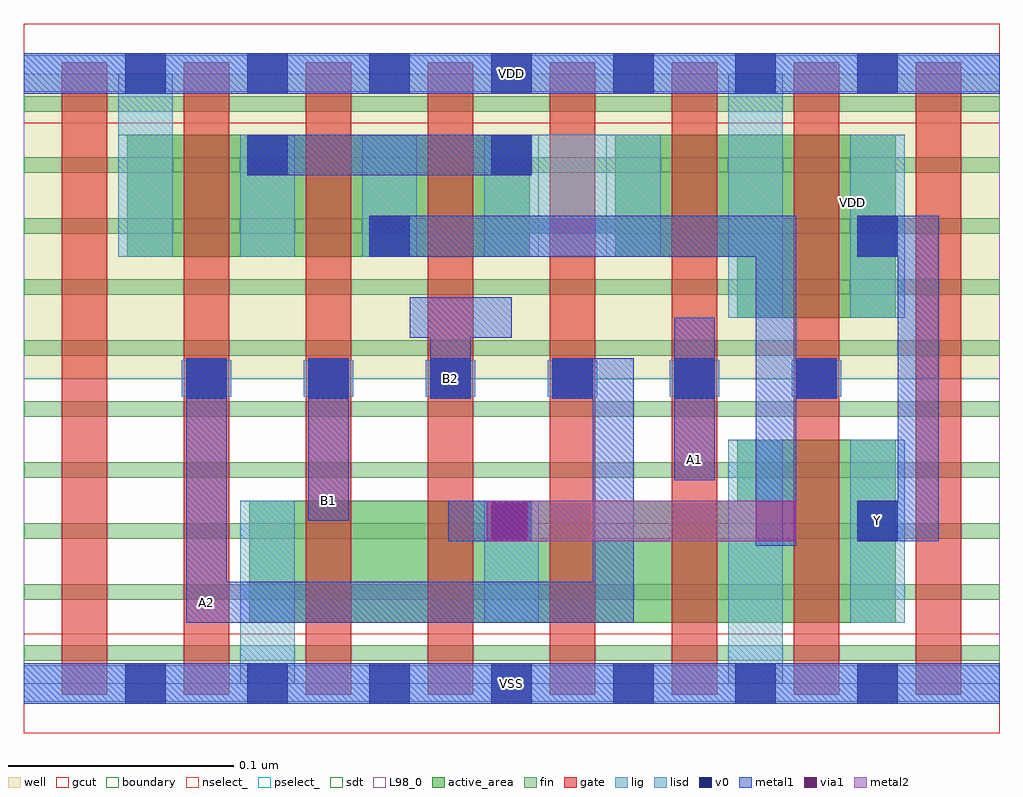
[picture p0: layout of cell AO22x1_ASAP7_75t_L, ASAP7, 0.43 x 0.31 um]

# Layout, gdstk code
import gdstk
lib = gdstk.Library(unit=1e-6, precision=2.5e-10)
def R(c, l, rs):  # rectangles x0, y0, x1, y1
    for r in rs: c.add(gdstk.rectangle(r[:2], r[2:], *l))
def A(c, l, x, y, w, h, nx, ny, dx, dy):  # array of equal rectangles
    R(c, l, [(x+i*dx, y+j*dy, x+i*dx+w, y+j*dy+h) for i in range(nx) for j in range(ny)])
def P(c, l, *ps):  # polygons
    for p in ps: c.add(gdstk.Polygon(p, *l))
well = (1, 0)
fin = (2, 0)
gate = (7, 0)
gcut = (10, 0)
active_area = (11, 0)
nselect_ = (12, 0)
pselect_ = (13, 0)
lig = (16, 0)
lisd = (17, 0)
v0 = (18, 0)
metal1 = (19, 0)
metal2 = (20, 0)
via1 = (21, 0)
sdt = (88, 0)
L98_0 = (98, 0)
boundary = (100, 0)

ao22x1_asap7_75t_l = lib.new_cell('AO22x1_ASAP7_75t_L')
R(ao22x1_asap7_75t_l, well, [(0,0.135,0.432,0.27)])
A(ao22x1_asap7_75t_l, fin, 0, 0.01, 0.432, 0.007, 1, 10, 0, 0.027)
A(ao22x1_asap7_75t_l, gate, 0.017, -0.005, 0.02, 0.28, 8, 1, 0.054, 0)
R(ao22x1_asap7_75t_l, gcut, [(0,-0.022,0.432,0.022), (0,0.248,0.432,0.292)])
R(ao22x1_asap7_75t_l, active_area, [(0.046,0.189,0.224,0.243)])
P(ao22x1_asap7_75t_l, active_area, [(0.1,0.027),(0.1,0.081),(0.316,0.081),(0.316,0.108),(0.386,0.108),(0.386,0.027)],
  [(0.316,0.162),(0.316,0.189),(0.262,0.189),(0.262,0.243),(0.386,0.243),(0.386,0.162)])
R(ao22x1_asap7_75t_l, nselect_, [(0,0,0.432,0.135)])
R(ao22x1_asap7_75t_l, pselect_, [(0,0.135,0.432,0.27)])
A(ao22x1_asap7_75t_l, lig, 0.07, 0.127, 0.022, 0.016, 6, 1, 0.054, 0)
R(ao22x1_asap7_75t_l, lig, [(0,-0.008,0.432,0.008), (0,0.262,0.432,0.278)])
R(ao22x1_asap7_75t_l, lisd, [(0.096,0,0.12,0.081), (0.312,0,0.336,0.108), (0.204,0.027,0.228,0.081), (0.366,0.027,0.39,0.108), (0.312,0.162,0.336,0.27), (0.366,0.162,0.39,0.243), (0.042,0.189,0.066,0.27), (0.096,0.189,0.12,0.243), (0.15,0.189,0.174,0.243), (0.204,0.189,0.282,0.243)])
A(ao22x1_asap7_75t_l, v0, 0.045, -0.009, 0.018, 0.018, 7, 2, 0.054, 0.27)
A(ao22x1_asap7_75t_l, v0, 0.072, 0.126, 0.018, 0.018, 6, 1, 0.054, 0)
R(ao22x1_asap7_75t_l, v0, [(0.207,0.063,0.225,0.081), (0.369,0.063,0.387,0.081), (0.153,0.189,0.171,0.207), (0.369,0.189,0.387,0.207), (0.099,0.225,0.117,0.243), (0.207,0.225,0.225,0.243)])
R(ao22x1_asap7_75t_l, metal1, [(0,-0.009,0.432,0.009), (0.188,0.063,0.225,0.081), (0.126,0.072,0.144,0.144), (0.288,0.09,0.306,0.162), (0.171,0.153,0.188,0.171), (0.099,0.225,0.225,0.243), (0,0.261,0.432,0.279)])
P(ao22x1_asap7_75t_l, metal1, [(0.072,0.027),(0.072,0.144),(0.09,0.144),(0.09,0.045),(0.252,0.045),(0.252,0.126),(0.234,0.126),(0.234,0.144),(0.27,0.144),(0.27,0.027)],
  [(0.18,0.126),(0.18,0.171),(0.216,0.171),(0.216,0.153),(0.198,0.153),(0.198,0.126)],
  [(0.369,0.063),(0.369,0.081),(0.387,0.081),(0.387,0.189),(0.369,0.189),(0.369,0.207),(0.405,0.207),(0.405,0.063)],
  [(0.324,0.061),(0.324,0.189),(0.153,0.189),(0.153,0.207),(0.342,0.207),(0.342,0.144),(0.36,0.144),(0.36,0.126),(0.342,0.126),(0.342,0.061)])
R(ao22x1_asap7_75t_l, metal2, [(0.205,0.063,0.342,0.081)])
R(ao22x1_asap7_75t_l, via1, [(0.205,0.063,0.223,0.081), (0.324,0.063,0.342,0.081)])
A(ao22x1_asap7_75t_l, sdt, 0.042, 0.189, 0.024, 0.054, 5, 1, 0.054, 0)
R(ao22x1_asap7_75t_l, sdt, [(0.096,0.027,0.12,0.081), (0.204,0.027,0.228,0.081), (0.312,0.027,0.336,0.108), (0.366,0.027,0.39,0.108), (0.312,0.162,0.336,0.243), (0.366,0.162,0.39,0.243)])
R(ao22x1_asap7_75t_l, L98_0, [(0,0,0.432,0.27)])
R(ao22x1_asap7_75t_l, boundary, [(0,0,0.432,0.27)])
ao22x1_asap7_75t_l.add(gdstk.Label('Y', (0.378,0.072), layer=19, texttype=251))
ao22x1_asap7_75t_l.add(gdstk.Label('B2', (0.189,0.135), layer=19, texttype=251))
ao22x1_asap7_75t_l.add(gdstk.Label('B1', (0.135,0.081), layer=19, texttype=251))
ao22x1_asap7_75t_l.add(gdstk.Label('A2', (0.081,0.036), layer=19, texttype=251))
ao22x1_asap7_75t_l.add(gdstk.Label('A1', (0.297,0.099), layer=19, texttype=251))
ao22x1_asap7_75t_l.add(gdstk.Label('VSS', (0.216,0), layer=19, texttype=251))
ao22x1_asap7_75t_l.add(gdstk.Label('VDD', (0.216,0.27), layer=19, texttype=251))
ao22x1_asap7_75t_l.add(gdstk.Label('VDD', (0.367,0.213), layer=1, texttype=251))
ao22x1_asap7_75t_l.add(gdstk.Label('VSS', (0.497,0.213), layer=3, texttype=251))

lib.write_gds('AO22x1_ASAP7_75t_L.gds')
